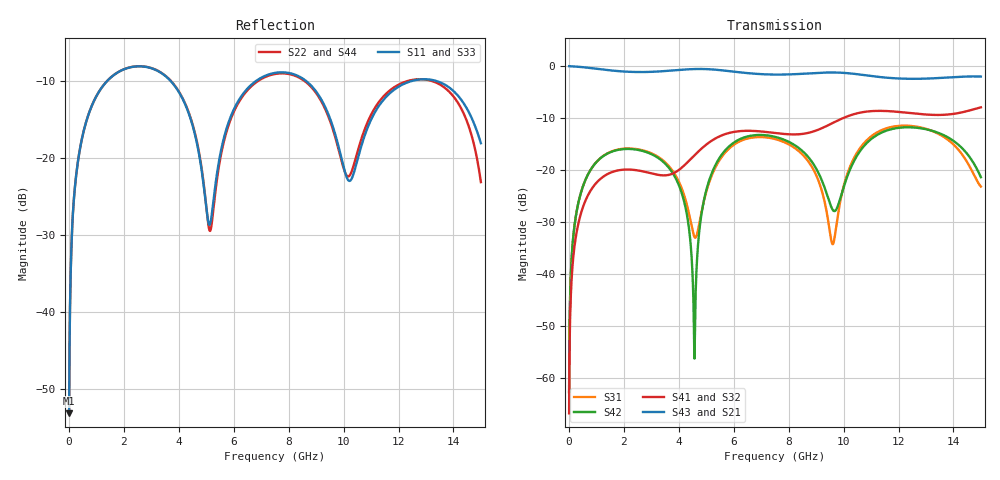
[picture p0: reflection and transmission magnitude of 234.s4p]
! Created with skrf 1.8.0 (http://scikit-rf.org).
# GHz S RI R 50.0
!freq ReS11 ImS11 ReS12 ImS12 ReS13 ImS13
! ReS14 ImS14
! ReS21 ImS21 ReS22 ImS22 ReS23 ImS23
! ReS24 ImS24
! ReS31 ImS31 ReS32 ImS32 ReS33 ImS33
! ReS34 ImS34
! ReS41 ImS41 ReS42 ImS42 ReS43 ImS43
! ReS44 ImS44
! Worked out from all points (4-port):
!   2499 points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, 5 MHz to 15 GHz, reference 50 ohm
!   strongest paths, dB at 5 MHz, 3.476 GHz, 7.19 GHz, 11.1 GHz, 15 GHz:
!     S43: 0.0, -1.0, -1.6, -2.0, -2.0
!     S21: 0.0, -1.0, -1.6, -2.0, -2.0
!     S41: -66.8, -21.0, -12.7, -8.6, -7.9
!     S32: -66.8, -21.0, -12.7, -8.7, -7.9
!     S42: -62.7, -18.6, -13.3, -13.7, -21.4
!     S31: -62.7, -18.4, -13.7, -13.2, -23.2
!   lowest |S11| = -53.2 dB at 5 MHz (marker M1), VSWR 1.00, Z = 50.2 + j0.133 ohm
!   |S11| at or under -10 dB: 3.686 GHz to 6.837 GHz (3.15 GHz wide, 59.9 % of centre); 8.612 GHz to 12.55 GHz (3.939 GHz wide, 37.2 % of centre); 13.32 GHz to end of sweep (the widest 3 of 4)
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0.005  0.00175 0.00132  0.9982 -0.00341  8.93e-05 0.000724  -8.65e-05 -0.000449
       0.9982 -0.00341  0.00175 0.00132  -8.65e-05 -0.000449  8.93e-05 0.000724
       8.93e-05 0.000724  -8.65e-05 -0.000449  0.00175 0.00133  0.9982 -0.00341
       -8.65e-05 -0.000449  8.93e-05 0.000724  0.9982 -0.00341  0.00175 0.00133
0.4126719  0.0414 0.1097  0.9422 -0.2736  0.0213 0.0537  -0.0173 -0.0321
           0.9422 -0.2736  0.0414 0.1097  -0.0173 -0.0321  0.0209 0.0538
           0.0213 0.0537  -0.0173 -0.0321  0.0414 0.1097  0.9422 -0.2736
           -0.0173 -0.0321  0.0209 0.0538  0.9422 -0.2736  0.0414 0.1097
1.975823  0.3554 0.1102  0.3078 -0.8324  0.1591 0.0203  -0.095 0.0341
          0.3078 -0.8324  0.3565 0.1088  -0.095 0.0341  0.1567 0.0269
          0.1591 0.0203  -0.095 0.0341  0.3555 0.1103  0.3078 -0.8323
          -0.095 0.0341  0.1567 0.0269  0.3078 -0.8323  0.3566 0.1088
4.564402  0.0777 -0.1244  -0.8502 -0.3933  -0.0203 -0.0105  -0.0541 0.1272
          -0.8502 -0.3933  0.0756 -0.1289  -0.0538 0.1273  -0.00132 -0.00094
          -0.0203 -0.0105  -0.0538 0.1273  0.0793 -0.1248  -0.8499 -0.3935
          -0.0541 0.1272  -0.00132 -0.00094  -0.8499 -0.3935  0.075 -0.1303
5.827428  0.1158 0.1275  -0.8314 0.3308  0.0923 0.1317  0.1137 0.1969
          -0.8314 0.3308  0.1098 0.1237  0.1139 0.1965  0.1133 0.1249
          0.0923 0.1317  0.1139 0.1965  0.117 0.1253  -0.8318 0.3305
          0.1137 0.1969  0.1133 0.1249  -0.8318 0.3305  0.1074 0.1232
10.30429  0.0729 0.0101  0.8398 0.1107  0.0183 0.1173  0.0322 -0.3387
          0.8398 0.1107  0.0799 0.0192  0.0316 -0.3385  -0.00341 0.1114
          0.0183 0.1173  0.0316 -0.3385  0.0742 0.00869  0.8399 0.11
          0.0322 -0.3387  -0.00341 0.1114  0.8399 0.11  0.0785 0.0181
15  0.0828 -0.0922  -0.6753 -0.4148  0.0619 -0.0316  -0.192 0.3524
    -0.6753 -0.4148  0.0469 -0.0511  -0.1914 0.3533  -0.0429 -0.0738
    0.0619 -0.0316  -0.1914 0.3533  0.0808 -0.0853  -0.6791 -0.4099
    -0.192 0.3524  -0.0429 -0.0738  -0.6791 -0.4099  0.0391 -0.0455
